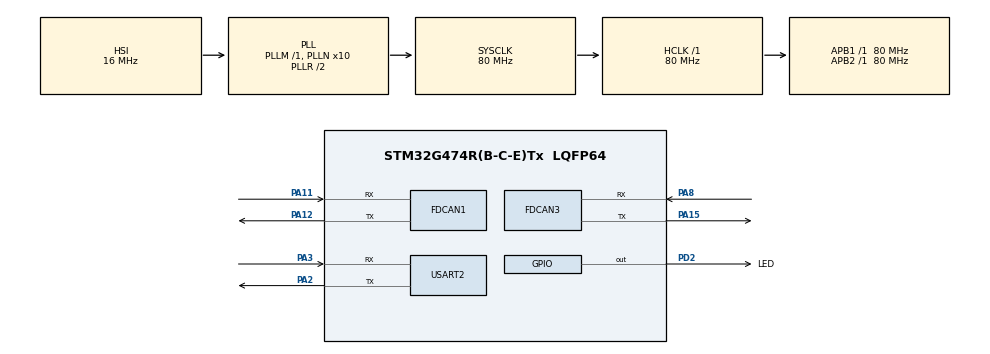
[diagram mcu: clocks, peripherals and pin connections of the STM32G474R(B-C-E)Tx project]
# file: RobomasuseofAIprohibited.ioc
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FDCAN1.CalculateBaudRateNominal=1000000
FDCAN1.CalculateTimeBitNominal=1000
FDCAN1.CalculateTimeQuantumNominal=50.0
FDCAN1.DataPrescaler=2
FDCAN1.DataTimeSeg1=15
FDCAN1.DataTimeSeg2=4
FDCAN1.FrameFormat=FDCAN_FRAME_FD_BRS
FDCAN1.NominalPrescaler=4
FDCAN1.NominalTimeSeg1=15
FDCAN1.NominalTimeSeg2=4
FDCAN1.StdFiltersNbr=1
FDCAN3.CalculateBaudRateNominal=1000000
FDCAN3.CalculateTimeBitNominal=1000
FDCAN3.CalculateTimeQuantumNominal=50.0
FDCAN3.DataPrescaler=2
FDCAN3.DataTimeSeg1=15
FDCAN3.DataTimeSeg2=4
FDCAN3.FrameFormat=FDCAN_FRAME_FD_BRS
FDCAN3.NominalPrescaler=4
FDCAN3.NominalTimeSeg1=15
FDCAN3.NominalTimeSeg2=4
FDCAN3.StdFiltersNbr=1
Mcu.Family=STM32G4
Mcu.Name=STM32G474R(B-C-E)Tx
Mcu.Package=LQFP64
NVIC.FDCAN1_IT0_IRQn=true\:0\:0\:false\:false\:true\:true\:true\:true
NVIC.FDCAN1_IT1_IRQn=true\:0\:0\:false\:false\:true\:true\:true\:true
NVIC.FDCAN3_IT0_IRQn=true\:0\:0\:false\:false\:true\:true\:true\:true
NVIC.FDCAN3_IT1_IRQn=true\:0\:0\:false\:false\:true\:true\:true\:true
NVIC.PriorityGroup=NVIC_PRIORITYGROUP_4
NVIC.TIM6_DAC_IRQn=true\:0\:0\:false\:false\:true\:true\:true\:true
PA11.Mode=FDCAN_Activate
PA11.Signal=FDCAN1_RX
PA12.Mode=FDCAN_Activate
PA12.Signal=FDCAN1_TX
PA15.Mode=FDCAN_Activate
PA15.Signal=FDCAN3_TX
PA2.Mode=Asynchronous
PA2.Signal=USART2_TX
PA3.Mode=Asynchronous
PA3.Signal=USART2_RX
PA8.Mode=FDCAN_Activate
PA8.Signal=FDCAN3_RX
PD2.GPIO_Label=LED
PD2.Signal=GPIO_Output
ProjectManager.HeapSize=0x200
ProjectManager.StackSize=0x400
ProjectManager.TargetToolchain=CMake
RCC.ADC12Freq_Value=80000000
RCC.ADC345Freq_Value=80000000
RCC.AHBFreq_Value=80000000
RCC.APB1Freq_Value=80000000
RCC.APB1TimFreq_Value=80000000
RCC.APB2Freq_Value=80000000
RCC.APB2TimFreq_Value=80000000
RCC.CortexFreq_Value=80000000
RCC.EXTERNAL_CLOCK_VALUE=12288000
RCC.HCLKFreq_Value=80000000
RCC.HSE_VALUE=8000000
RCC.HSI48_VALUE=48000000
RCC.HSI_VALUE=16000000
RCC.LSE_VALUE=32768
RCC.PLLN=10
RCC.SYSCLKFreq_VALUE=80000000
RCC.SYSCLKSource=RCC_SYSCLKSOURCE_PLLCLK
RCC.USBFreq_Value=80000000
RCC.VCOOutputFreq_Value=160000000
TIM6.PeriodNoDither=1
TIM6.Prescaler=39999
USART2.VirtualMode-Asynchronous=VM_ASYNC
VP_SYS_VS_DBSignals.Mode=DisableDeadBatterySignals
VP_TIM6_VS_ClockSourceINT.Mode=Enable_Timer
board=custom

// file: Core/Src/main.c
/* USER CODE BEGIN Header */
/**
  ******************************************************************************
  * @file           : main.c
  * @brief          : Main program body
  ******************************************************************************
  * @attention
  *
  * Copyright (c) 2026 STMicroelectronics.
  * All rights reserved.
  *
  * This software is licensed under terms that can be found in the LICENSE file
  * in the root directory of this software component.
  * If no LICENSE file comes with this software, it is provided AS-IS.
  *
  ******************************************************************************
  */
/* USER CODE END Header */
#include "main.h"

/* USER CODE BEGIN Includes */
#include <stdint.h>
#include <stdio.h>
#include "can_communication_function.h"
#include "stm32g4xx_hal.h"
#include "stm32g4xx_hal_fdcan.h"
#include "timer_function.h"
/* USER CODE END Includes */

FDCAN_HandleTypeDef hfdcan1;
FDCAN_HandleTypeDef hfdcan3;

TIM_HandleTypeDef htim6;

UART_HandleTypeDef huart2;

/* USER CODE BEGIN PV */
FDCAN_TxHeaderTypeDef TxHeader;
/* USER CODE END PV */

void SystemClock_Config(void);
static void MX_GPIO_Init(void);
static void MX_FDCAN1_Init(void);
static void MX_FDCAN3_Init(void);
static void MX_TIM6_Init(void);
static void MX_USART2_UART_Init(void);

/* USER CODE BEGIN 0 */

int _write(int file, char *ptr, int len) {

  HAL_UART_Transmit(&huart2, (uint8_t*)ptr, len, 10);  //printfを使えるにした
  return len;

}

/* USER CODE END 0 */

int main(void)
{

  /* MCU Configuration--------------------------------------------------------*/

  /* Reset of all peripherals, Initializes the Flash interface and the Systick. */
  HAL_Init();

  /* USER CODE BEGIN Init */
  robomasu_speed_rpm = 0;
  raw_angle_data = 0;
  last_time_raw_angle_data = 0;
  rotate_total_angle = 0;
  last_time_rotate_total_angle = 0;
  angle = 0;
  speed_target = 0;
  send_current = 0;

  motor.Kp = 1.0f;   motor.Ki = 0.0f;   motor.Kd = 0.1f;
  motor.angle_total_difference = 0;
  motor.angle_lowpass_difference = 0;
  motor.angle_last_time_difference = 0;
  motor.angle_target = 90;

  motor.speed_Kp = 10.0f; motor.speed_Ki = 6.0f; motor.speed_Kd = 5.0f;
  motor.speed_total_difference = 0;
  motor.speed_lowpass_difference = 0;
  motor.speed_last_time_difference = 0;
  /* USER CODE END Init */

  /* Configure the system clock */
  SystemClock_Config();

  /* Initialize all configured peripherals */
  MX_GPIO_Init();
  MX_FDCAN1_Init();
  MX_FDCAN3_Init();
  MX_TIM6_Init();
  MX_USART2_UART_Init();
  /* USER CODE BEGIN 2 */

  FDCAN_FilterTypeDef FDCAN_Filter_settings;
  FDCAN_Filter_settings.IdType       = FDCAN_STANDARD_ID;
  FDCAN_Filter_settings.FilterIndex  = 0;                     // StdFiltersNbr=1に合わせて0
  FDCAN_Filter_settings.FilterType   = FDCAN_FILTER_RANGE;
  FDCAN_Filter_settings.FilterConfig = FDCAN_FILTER_TO_RXFIFO0; // FIFO0
  FDCAN_Filter_settings.FilterID1    = 0x201;
  FDCAN_Filter_settings.FilterID2    = 0x204;

  if (HAL_FDCAN_ConfigFilter(&hfdcan3, &FDCAN_Filter_settings) != HAL_OK)
  {
    Error_Handler();
  }

  // フィルタに一致しないフレームは破棄
  HAL_FDCAN_ConfigGlobalFilter(&hfdcan3, FDCAN_REJECT, FDCAN_REJECT,
                              FDCAN_REJECT_REMOTE, FDCAN_REJECT_REMOTE);

  HAL_FDCAN_ActivateNotification(&hfdcan3,FDCAN_IT_RX_FIFO0_NEW_MESSAGE,0);

  if (HAL_FDCAN_Start(&hfdcan3) != HAL_OK)
  {
    Error_Handler();
  }

  if (HAL_TIM_Base_Start_IT(&htim6) != HAL_OK)
  {
    Error_Handler();
  }

  TxHeader.Identifier          = 0x200;
  TxHeader.IdType              = FDCAN_STANDARD_ID;
  TxHeader.TxFrameType         = FDCAN_DATA_FRAME;
  TxHeader.DataLength          = FDCAN_DLC_BYTES_8;
  TxHeader.ErrorStateIndicator = FDCAN_ESI_ACTIVE;
  TxHeader.BitRateSwitch       = FDCAN_BRS_OFF;
  TxHeader.FDFormat            = FDCAN_CLASSIC_CAN;
  TxHeader.TxEventFifoControl  = FDCAN_NO_TX_EVENTS;
  TxHeader.MessageMarker       = 0;
  /* USER CODE END 2 */

  /* Infinite loop */
  /* USER CODE BEGIN WHILE */
  while (1)
  {
    // int value_to_robomasu = 1500;  //2000以上で一回転する
    // uint8_t TxData[8] = {};
    // TxData[2] = value_to_robomasu >> 8;
    // TxData[3] = (uint8_t)(value_to_robomasu & 0xff);
    // if (HAL_FDCAN_AddMessageToTxFifoQ(&hfdcan3,&TxHeader,TxData) !=HAL_OK){
    //   printf("addmessage is error\r\n");
    //   Error_Handler();
    // }
    // HAL_Delay(10);
    //printf("%d\r\n", value_to_robomasu);
    /* USER CODE END WHILE */

  }
}

void SystemClock_Config(void)
{
  RCC_OscInitTypeDef RCC_OscInitStruct = {0};
  RCC_ClkInitTypeDef RCC_ClkInitStruct = {0};

  /** Configure the main internal regulator output voltage
  */
  HAL_PWREx_ControlVoltageScaling(PWR_REGULATOR_VOLTAGE_SCALE1);

  /** Initializes the RCC Oscillators according to the specified parameters
  * in the RCC_OscInitTypeDef structure.
  */
  RCC_OscInitStruct.OscillatorType = RCC_OSCILLATORTYPE_HSI;
  RCC_OscInitStruct.HSIState = RCC_HSI_ON;
  RCC_OscInitStruct.HSICalibrationValue = RCC_HSICALIBRATION_DEFAULT;
  RCC_OscInitStruct.PLL.PLLState = RCC_PLL_ON;
  RCC_OscInitStruct.PLL.PLLSource = RCC_PLLSOURCE_HSI;
  RCC_OscInitStruct.PLL.PLLM = RCC_PLLM_DIV1;
  RCC_OscInitStruct.PLL.PLLN = 10;
  RCC_OscInitStruct.PLL.PLLP = RCC_PLLP_DIV2;
  RCC_OscInitStruct.PLL.PLLQ = RCC_PLLQ_DIV2;
  RCC_OscInitStruct.PLL.PLLR = RCC_PLLR_DIV2;
  if (HAL_RCC_OscConfig(&RCC_OscInitStruct) != HAL_OK)
  {
    Error_Handler();
  }

  /** Initializes the CPU, AHB and APB buses clocks
  */
  RCC_ClkInitStruct.ClockType = RCC_CLOCKTYPE_HCLK|RCC_CLOCKTYPE_SYSCLK
                              |RCC_CLOCKTYPE_PCLK1|RCC_CLOCKTYPE_PCLK2;
  RCC_ClkInitStruct.SYSCLKSource = RCC_SYSCLKSOURCE_PLLCLK;
  RCC_ClkInitStruct.AHBCLKDivider = RCC_SYSCLK_DIV1;
  RCC_ClkInitStruct.APB1CLKDivider = RCC_HCLK_DIV1;
  RCC_ClkInitStruct.APB2CLKDivider = RCC_HCLK_DIV1;

  if (HAL_RCC_ClockConfig(&RCC_ClkInitStruct, FLASH_LATENCY_2) != HAL_OK)
  {
    Error_Handler();
  }
}

static void MX_FDCAN1_Init(void)
{

  hfdcan1.Instance = FDCAN1;
  hfdcan1.Init.ClockDivider = FDCAN_CLOCK_DIV1;
  hfdcan1.Init.FrameFormat = FDCAN_FRAME_FD_BRS;
  hfdcan1.Init.Mode = FDCAN_MODE_NORMAL;
  hfdcan1.Init.AutoRetransmission = DISABLE;
  hfdcan1.Init.TransmitPause = DISABLE;
  hfdcan1.Init.ProtocolException = DISABLE;
  hfdcan1.Init.NominalPrescaler = 4;
  hfdcan1.Init.NominalSyncJumpWidth = 1;
  hfdcan1.Init.NominalTimeSeg1 = 15;
  hfdcan1.Init.NominalTimeSeg2 = 4;
  hfdcan1.Init.DataPrescaler = 2;
  hfdcan1.Init.DataSyncJumpWidth = 1;
  hfdcan1.Init.DataTimeSeg1 = 15;
  hfdcan1.Init.DataTimeSeg2 = 4;
  hfdcan1.Init.StdFiltersNbr = 1;
  hfdcan1.Init.ExtFiltersNbr = 0;
  hfdcan1.Init.TxFifoQueueMode = FDCAN_TX_FIFO_OPERATION;
  if (HAL_FDCAN_Init(&hfdcan1) != HAL_OK)
  {
    Error_Handler();
  }

}

static void MX_FDCAN3_Init(void)
{

  hfdcan3.Instance = FDCAN3;
  hfdcan3.Init.ClockDivider = FDCAN_CLOCK_DIV1;
  hfdcan3.Init.FrameFormat = FDCAN_FRAME_FD_BRS;
  hfdcan3.Init.Mode = FDCAN_MODE_NORMAL;
  hfdcan3.Init.AutoRetransmission = DISABLE;
  hfdcan3.Init.TransmitPause = DISABLE;
  hfdcan3.Init.ProtocolException = DISABLE;
  hfdcan3.Init.NominalPrescaler = 4;
  hfdcan3.Init.NominalSyncJumpWidth = 1;
  hfdcan3.Init.NominalTimeSeg1 = 15;
  hfdcan3.Init.NominalTimeSeg2 = 4;
  hfdcan3.Init.DataPrescaler = 2;
  hfdcan3.Init.DataSyncJumpWidth = 1;
  hfdcan3.Init.DataTimeSeg1 = 15;
  hfdcan3.Init.DataTimeSeg2 = 4;
  hfdcan3.Init.StdFiltersNbr = 1;
  hfdcan3.Init.ExtFiltersNbr = 0;
  hfdcan3.Init.TxFifoQueueMode = FDCAN_TX_FIFO_OPERATION;
  if (HAL_FDCAN_Init(&hfdcan3) != HAL_OK)
  {
    Error_Handler();
  }

}

static void MX_TIM6_Init(void)
{

  TIM_MasterConfigTypeDef sMasterConfig = {0};

  htim6.Instance = TIM6;
  htim6.Init.Prescaler = 39999;
  htim6.Init.CounterMode = TIM_COUNTERMODE_UP;
  htim6.Init.Period = 1;
  htim6.Init.AutoReloadPreload = TIM_AUTORELOAD_PRELOAD_DISABLE;
  if (HAL_TIM_Base_Init(&htim6) != HAL_OK)
  {
    Error_Handler();
  }
  sMasterConfig.MasterOutputTrigger = TIM_TRGO_RESET;
  sMasterConfig.MasterSlaveMode = TIM_MASTERSLAVEMODE_DISABLE;
  if (HAL_TIMEx_MasterConfigSynchronization(&htim6, &sMasterConfig) != HAL_OK)
  {
    Error_Handler();
  }

}

static void MX_USART2_UART_Init(void)
{

  huart2.Instance = USART2;
  huart2.Init.BaudRate = 115200;
  huart2.Init.WordLength = UART_WORDLENGTH_8B;
  huart2.Init.StopBits = UART_STOPBITS_1;
  huart2.Init.Parity = UART_PARITY_NONE;
  huart2.Init.Mode = UART_MODE_TX_RX;
  huart2.Init.HwFlowCtl = UART_HWCONTROL_NONE;
  huart2.Init.OverSampling = UART_OVERSAMPLING_16;
  huart2.Init.OneBitSampling = UART_ONE_BIT_SAMPLE_DISABLE;
  huart2.Init.ClockPrescaler = UART_PRESCALER_DIV1;
  huart2.AdvancedInit.AdvFeatureInit = UART_ADVFEATURE_NO_INIT;
  if (HAL_UART_Init(&huart2) != HAL_OK)
  {
    Error_Handler();
  }
  if (HAL_UARTEx_SetTxFifoThreshold(&huart2, UART_TXFIFO_THRESHOLD_1_8) != HAL_OK)
  {
    Error_Handler();
  }
  if (HAL_UARTEx_SetRxFifoThreshold(&huart2, UART_RXFIFO_THRESHOLD_1_8) != HAL_OK)
  {
    Error_Handler();
  }
  if (HAL_UARTEx_DisableFifoMode(&huart2) != HAL_OK)
  {
    Error_Handler();
  }

}

static void MX_GPIO_Init(void)
{
  GPIO_InitTypeDef GPIO_InitStruct = {0};

  /* GPIO Ports Clock Enable */
  __HAL_RCC_GPIOA_CLK_ENABLE();
  __HAL_RCC_GPIOD_CLK_ENABLE();

  /*Configure GPIO pin Output Level */
  HAL_GPIO_WritePin(LED_GPIO_Port, LED_Pin, GPIO_PIN_RESET);

  /*Configure GPIO pin : LED_Pin */
  GPIO_InitStruct.Pin = LED_Pin;
  GPIO_InitStruct.Mode = GPIO_MODE_OUTPUT_PP;
  GPIO_InitStruct.Pull = GPIO_NOPULL;
  GPIO_InitStruct.Speed = GPIO_SPEED_FREQ_LOW;
  HAL_GPIO_Init(LED_GPIO_Port, &GPIO_InitStruct);

}

void Error_Handler(void)
{
  __disable_irq();
  while (1)
  {
  }
}
